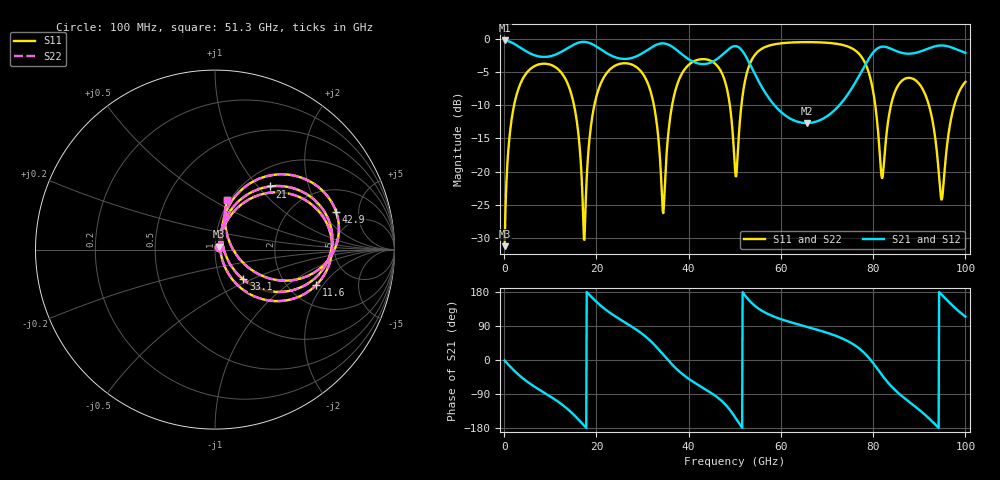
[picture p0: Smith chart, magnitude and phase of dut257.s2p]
! Touchstone file exported from HFSS 2026.1.0
!  File:  C:/ffzhzh/LocalFiles/Ansys_Project_Files/temp_train_TSV_RDL_257_1783672550_33328.aedt
!  Generated:  04:49:30 PM Jul 10, 2026
!  Design:  TSV_RDL
!  Project:  temp_train_TSV_RDL_257_1783672550_33328
! Variables:
!  h_bsmrdl = 3.85um
!  h_ox = 20um
!  h_rdl = 5um
!  h_sub = 58.34um
!  h_tmrdl = 3.54um
!  h_tsv = 58.34um
!  h_via = 3um
!  l_bsmrdl = 241.71um
!  l_sub = 3467.34um
!  l_tmrdl = 555.83um
!  m_sub = 200um
!  pitch = 56.76um
!  r_tsv = 7.26um
!  s_tmrdl = 10um
!  w_bsmrdl = 27.27um
!  w_sub = 500um
!  w_tmrdl = 12.36um
!  x_tsv_center1 = 562.01um
!  x_tsv_center2 = 830.99um
!  x_tsv_center3 = 1399.18um
!  x_tsv_center4 = 1668.16um
!  x_tsv_center5 = 2236.35um
!  x_tsv_center6 = 2505.33um
# GHz S MA R 50.000000
! Terminal data exported
! Port[1] = TM_RDL1_1_T1
! Port[2] = TM_RDL5_1_T1
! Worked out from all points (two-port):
!   1000 points, 100 MHz to 100 GHz, reference 50 ohm
!   highest |S21| = -0.19 dB at 100 MHz (marker M1); lowest = -12.7 dB at 65.6 GHz (marker M2)
!   |S21| within 3 dB of the highest: start of sweep to 40.4 GHz; 78.86 GHz to end of sweep (the widest 2 of 3)
!   lowest |S11| = -31.3 dB at 100 MHz (marker M3), VSWR 1.06, Z = 52.2 + j1.68 ohm
!   |S11| at or under -10 dB: 15.16 GHz to 19.55 GHz (4.39 GHz wide, 25.3 % of centre); 32.47 GHz to 36.41 GHz (3.937 GHz wide, 11.4 % of centre); 92.1 GHz to 97.58 GHz (5.482 GHz wide, 5.78 % of centre) (the widest 3 of 6)
!   |S22| runs from -31.3 to -0.4 dB; largest |S21 - S12| = 4.2e-12
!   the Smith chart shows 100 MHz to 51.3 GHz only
!   S11 on the Smith chart (normalised r, x): 100 MHz: 1.04, +0.03; 11.6 GHz: 2.79, -1.72; 21 GHz: 1.29, +1.16; 33.1 GHz: 1.29, -0.45; 42.9 GHz: 3.32, +2.80; 51.3 GHz: 0.97, +0.59
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0.1  0.02728 36.2  0.9782 -1.4  0.9782 -1.4  0.02728 36.2
! Gamma 0 0 0 0
! Port Impedance 50 0 50 0
3.1  0.4213 48.0  0.8819 -38.5  0.8819 -38.5  0.4213 48.1
11.6  0.5967 -19.5  0.7773 -109.2  0.7773 -109.2  0.5967 -19.4
16.8  0.09031 -58.4  0.9523 -165.9  0.9523 -165.9  0.0904 -58.2
21  0.4668 48.9  0.8357 142.7  0.8357 142.7  0.4668 48.9
27.2  0.6512 1.4  0.7151 91.7  0.7151 91.7  0.6512 1.4
33.1  0.2288 -46.4  0.9102 33.4  0.9102 33.4  0.2287 -46.6
33.4  0.184 -47.2  0.9182 29.4  0.9182 29.4  0.1838 -47.5
34.5  0.04845 18.8  0.93 14.2  0.93 14.2  0.04752 18.8
37.2  0.4184 62.0  0.8388 -21.5  0.8388 -21.5  0.4182 62.1
42.9  0.7066 17.4  0.6489 -71.9  0.6489 -71.9  0.7065 17.4
50.1  0.09914 2.6  0.8871 -151.4  0.8871 -151.4  0.09786 2.2
51.3  0.285 76.0  0.8429 -173.7  0.8429 -173.7  0.2845 76.3
65.6  0.9503 -2.9  0.2324 87.6  0.2324 87.6  0.9502 -2.8
66.7  0.9498 -6.3  0.2341 83.9  0.2341 83.9  0.9497 -6.2
77.4  0.7418 -57.9  0.563 26.2  0.563 26.2  0.7418 -57.8
81.9  0.08932 -42.5  0.8779 -39.5  0.8779 -39.5  0.09129 -42.3
83.4  0.2608 12.7  0.86 -62.1  0.86 -62.1  0.2615 12.3
88.7  0.5009 -27.8  0.7821 -118.9  0.7821 -118.9  0.5011 -28.0
93.5  0.175 -61.7  0.8856 -170.6  0.8856 -170.6  0.1748 -62.1
94.9  0.06169 -1.6  0.8965 171.8  0.8965 171.8  0.06089 -1.6
100  0.4759 20.6  0.7888 114.4  0.7888 114.4  0.4759 20.6
